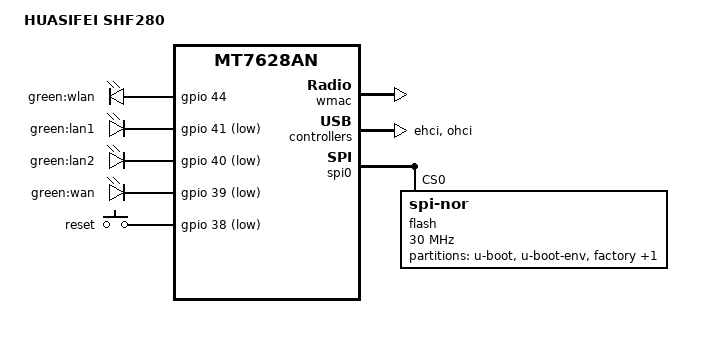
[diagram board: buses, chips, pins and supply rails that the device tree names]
// SPDX-License-Identifier: GPL-2.0-or-later OR MIT

#include "mt7628an.dtsi"

#include <dt-bindings/gpio/gpio.h>
#include <dt-bindings/input/input.h>

/ {
	compatible = "huasifei,shf280", "mediatek,mt7628an-soc";
	model = "HUASIFEI SHF280";

	aliases {
		led-boot = &led_wlan;
		led-failsafe = &led_wlan;
		led-running = &led_wlan;
		led-upgrade = &led_wlan;
		label-mac-device = &ethernet;
	};

	chosen {
		bootargs = "console=ttyS0,115200";
	};

	leds {
		compatible = "gpio-leds";

		/* GPIO mapping verified on bench (10-13):
		 * GPIO44 = wifi LED (active high)
		 * GPIO39 = wan LED, GPIO40 = lan2 LED, GPIO41 = lan1 LED
		 * (all active low).  Port LEDs are driven by
		 * /etc/init.d/portled from the switch link state. */
		led_wlan: wlan {
			label = "green:wlan";
			gpios = <&gpio 44 GPIO_ACTIVE_HIGH>;
		};

		lan1 {
			label = "green:lan1";
			gpios = <&gpio 41 GPIO_ACTIVE_LOW>;
		};

		lan2 {
			label = "green:lan2";
			gpios = <&gpio 40 GPIO_ACTIVE_LOW>;
		};

		wan {
			label = "green:wan";
			gpios = <&gpio 39 GPIO_ACTIVE_LOW>;
		};
	};

	gpio-keys {
		compatible = "gpio-keys";

		reset {
			label = "reset";
			gpios = <&gpio 38 GPIO_ACTIVE_LOW>;
			linux,code = <KEY_RESTART>;
		};
	};
};

&state_default {
	gpio {
		/* uart1 covers GPIO39/40, i2s/wled_an region covers 41/44
		 * (same set proven by buffalo_wcr-1166ds on GPIO39-41) */
		groups = "uart1", "wled_an", "p0led_an", "p1led_an",
			 "p2led_an", "p3led_an", "p4led_an",
			 "wdt", "refclk", "gpio", "i2s";
		function = "gpio";
	};
};

&esw {
	/* PHY2=lan1, PHY3=lan2 (link-changed 0x04/0x08), PHY4=wan (0x10).
	 * portmap bits = LAN ports; enabled-but-unmapped = WAN. */
	mediatek,portmap = <0x0c>;
	mediatek,portdisable = <0x23>;
};

&wmac {
	status = "okay";
};

&ethernet {
	/* factory 0x4 is the WiFi MAC; wired base = WiFi + 1 (matches
	 * the MAC Breed reports for the stock firmware). */
	mtd-mac-address = <&factory 0x4>;
	mtd-mac-address-increment = <1>;
};

&ehci {
	status = "okay";
};

&ohci {
	status = "okay";
};

&spi0 {
	status = "okay";

	flash@0 {
		compatible = "jedec,spi-nor";
		reg = <0>;
		spi-max-frequency = <30000000>;

		partitions {
			compatible = "fixed-partitions";
			#address-cells = <1>;
			#size-cells = <1>;

			partition@0 {
				label = "u-boot";
				reg = <0x0 0x30000>;
				read-only;
			};

			partition@30000 {
				label = "u-boot-env";
				reg = <0x30000 0x10000>;
				read-only;
			};

			factory: partition@40000 {
				label = "factory";
				reg = <0x40000 0x10000>;
			};

			partition@50000 {
				compatible = "denx,uimage";
				label = "firmware";
				reg = <0x50000 0xfb0000>;
			};
		};
	};
};
